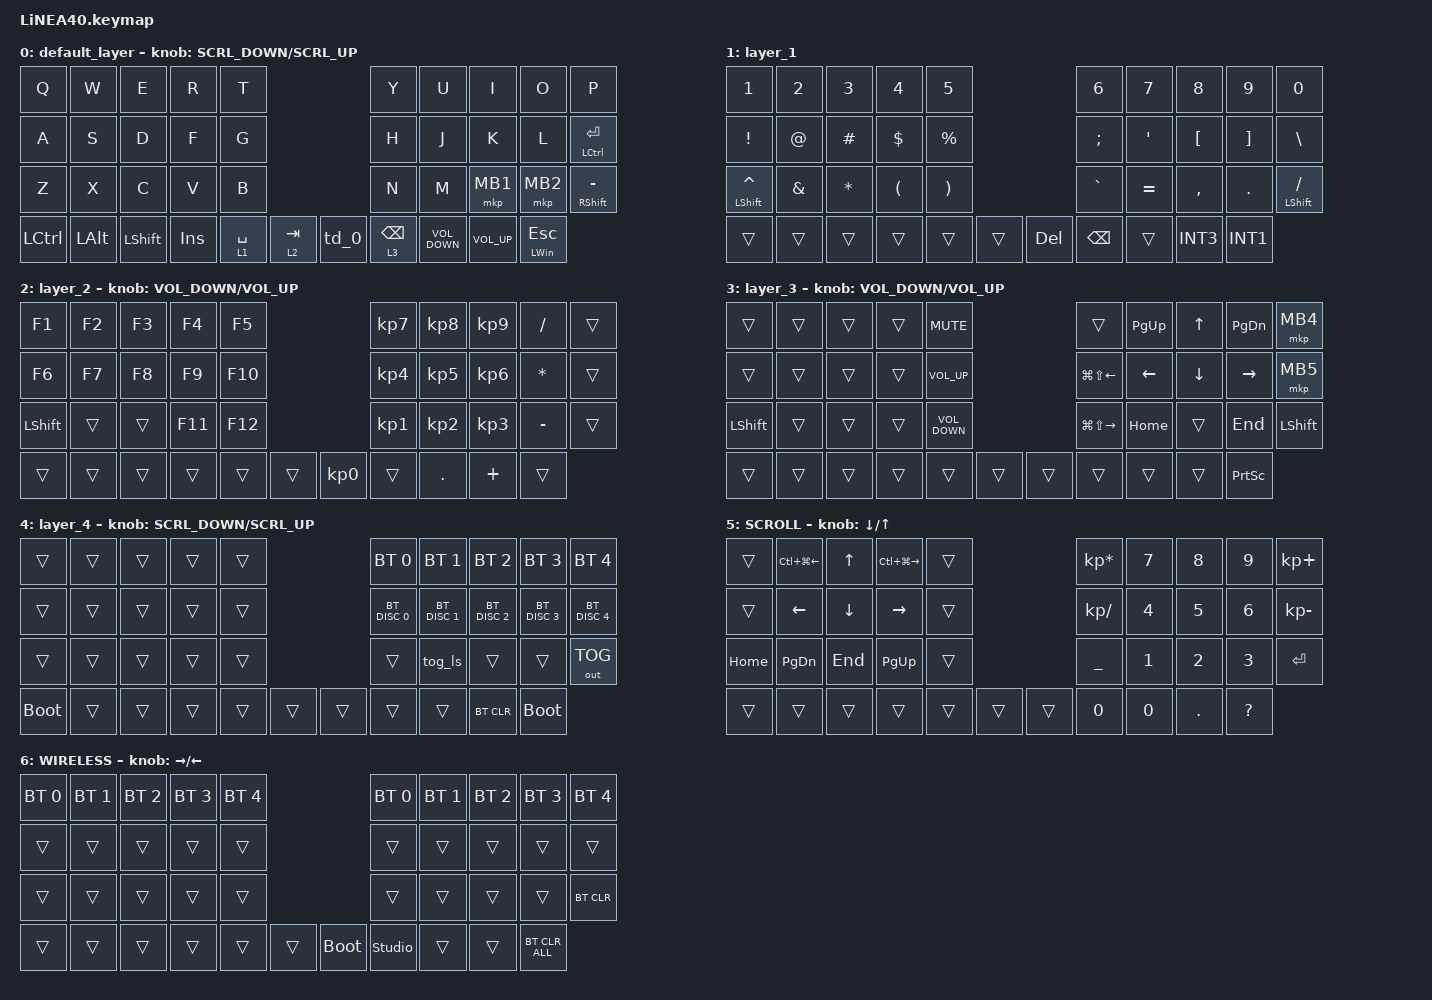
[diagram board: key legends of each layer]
#define ZMK_POINTING_DEFAULT_SCRL_VAL 150

#include <dt-bindings/zmk/input_transform.h>
#include <input/processors.dtsi>
#include <zephyr/dt-bindings/input/input-event-codes.h>
#include <layout_shift_kp_override.dtsi>
#include <behaviors.dtsi>
#include <dt-bindings/zmk/bt.h>
#include <dt-bindings/zmk/keys.h>
#include <dt-bindings/zmk/outputs.h>
#include <dt-bindings/zmk/pointing.h>

// &kp EQUAL      通常は = を出力するが、JISレイアウトでは _ (JISレイアウトでの = に対応)を出力する
// &tog_ls        レイアウトシフトのオン/オフを切り替え
// &tog_ls_on     レイアウトシフトをオンにする
// &tog_ls_off    レイアウトシフトをオフにする

#define MOUSE 1
#define MARK 2
#define CURSOR 3
#define FUNCTION 4
#define SCROLL 5
#define WIRELESS 6

//mouse cursol

&mmv {
    delay-ms = <20>;
    trigger-period-ms = <5>;
    time-to-max-speed-ms = <100>;
    acceleration-exponent = <2>;
};

//mouse scroll

&msc {
    delay-ms = <3>;
    trigger-period-ms = <3>;
    time-to-max-speed-ms = <100>;
    acceleration-exponent = <0>;
};

/ {
    input_processors {
        zip_wheel_scaler: zip_wheel_scaler {
            compatible = "zmk,input-processor-scaler";
            #input-processor-cells = <2>;
            type = <INPUT_EV_REL>;
            codes = <INPUT_REL_WHEEL>;
            track-remainders;
        };
    };
};

&msc_input_listener {
    speed_up {
        layers = <FUNCTION>;
        input-processors = <&zip_wheel_scaler 3 1>; //スクロールを3倍速にする
    };
};

&trackball_listener {
    scroller {
        layers = <SCROLL>;
        input-processors =
            <&zip_xy_transform INPUT_TRANSFORM_Y_INVERT>,
            //スクロール方向を逆転,,,,,,,,
            <&zip_xy_to_scroll_mapper>;
    };
};

/ {
    combos {
        compatible = "zmk,combos";

        bt {
            bindings = <&mo 4>;
            key-positions = <34 35>;
        };

        scroll {
            bindings = <&mo 5>;
            key-positions = <27 28>;
        };

        shift {
            bindings = <&kp LEFT_SHIFT>;
            key-positions = <10 13>;
        };

        mouse {
            bindings = <&mkp MB1>;
            key-positions = <17 18>;
        };

        scroll2 {
            bindings = <&mo 5>;
            key-positions = <7 8>;
        };
    };

    behaviors {
        re_kp: sensor_rotate_kp {
            compatible = "zmk,behavior-sensor-rotate-var";
            #sensor-binding-cells = <2>;
            bindings = <&kp>, <&kp>;
        };

        mouse_scrl: mouse_wheel_scrl {
            compatible = "zmk,behavior-sensor-rotate-var";
            #sensor-binding-cells = <2>;
            bindings = <&msc>, <&msc>;

            tap-ms = <20>;
        };

        td_0: td_0 {
            compatible = "zmk,behavior-tap-dance";
            label = "TD_0";
            #binding-cells = <0>;
            bindings = <&kp LANG1>, <&kp LANG2>;
        };
    };

    keymap {
        compatible = "zmk,keymap";

        default_layer {
            bindings = <
&kp Q      &kp W         &kp E           &kp R    &kp T                            &kp Y            &kp U  &kp I              &kp O            &kp P
&kp A      &kp S         &kp D           &kp F    &kp G                            &kp H            &kp J  &kp K              &kp L            &mt LEFT_CONTROL ENTER
&kp Z      &kp X         &kp C           &kp V    &kp B                            &kp N            &kp M  &mkp MB1           &mkp MB2         &mt RIGHT_SHIFT MINUS
&kp LCTRL  &kp LEFT_ALT  &kp LEFT_SHIFT  &kp INS  &lt 1 SPACE  &lt 2 TAB    &td_0  &lt 3 BACKSPACE         &kp C_VOLUME_DOWN  &kp C_VOLUME_UP  &mt LEFT_WIN ESC
            >;

            sensor-bindings = <&mouse_scrl SCRL_DOWN SCRL_UP>;
        };

        //1

        layer_1 {
            bindings = <
&kp NUMBER_1          &kp NUMBER_2   &kp NUMBER_3  &kp NUMBER_4          &kp NUMBER_5                              &kp NUMBER_6   &kp NUMBER_7      &kp NUMBER_8      &kp NUMBER_9       &kp NUMBER_0
&kp EXCL              &kp AT         &kp HASH      &kp DOLLAR            &kp PERCENT                               &kp SEMICOLON  &kp SINGLE_QUOTE  &kp LEFT_BRACKET  &kp RIGHT_BRACKET  &kp BACKSLASH
&mt LEFT_SHIFT CARET  &kp AMPERSAND  &kp ASTERISK  &kp LEFT_PARENTHESIS  &kp RIGHT_PARENTHESIS                     &kp GRAVE      &kp EQUAL         &kp COMMA         &kp PERIOD         &mt LEFT_SHIFT SLASH
&trans                &trans         &trans        &trans                &trans                 &trans    &kp DEL  &kp BACKSPACE                    &trans            &kp INT3           &kp INT1
            >;
        };

        //2

        layer_2 {
            bindings = <
&kp F1          &kp F2  &kp F3  &kp F4   &kp F5                        &kp KP_N7  &kp KP_N8  &kp KP_N9   &kp SLASH     &trans
&kp F6          &kp F7  &kp F8  &kp F9   &kp F10                       &kp KP_N4  &kp KP_N5  &kp KP_N6   &kp ASTERISK  &trans
&kp LEFT_SHIFT  &trans  &trans  &kp F11  &kp F12                       &kp KP_N1  &kp KP_N2  &kp KP_N3   &kp MINUS     &trans
&trans          &trans  &trans  &trans   &trans   &trans    &kp KP_N0  &trans                &kp PERIOD  &kp PLUS      &trans
            >;

            sensor-bindings = <&re_kp C_VOLUME_DOWN C_VOLUME_UP>;
        };

        //3

        layer_3 {
            bindings = <
&trans          &trans  &trans  &trans  &kp C_MUTE                           &trans                   &kp PAGE_UP     &kp UP_ARROW    &kp PAGE_DOWN    &mkp MB4
&trans          &trans  &trans  &trans  &kp C_VOLUME_UP                      &kp LG(LS(LEFT_ARROW))   &kp LEFT_ARROW  &kp DOWN_ARROW  &kp RIGHT_ARROW  &mkp MB5
&kp LEFT_SHIFT  &trans  &trans  &trans  &kp C_VOLUME_DOWN                    &kp LG(LS(RIGHT_ARROW))  &kp HOME        &trans          &kp END          &kp LEFT_SHIFT
&trans          &trans  &trans  &trans  &trans             &trans    &trans  &trans                                   &trans          &trans           &kp PRINTSCREEN
            >;

            sensor-bindings = <&inc_dec_kp C_VOLUME_DOWN C_VOLUME_UP>;
        };

        //4

        layer_4 {
            bindings = <
&trans       &trans  &trans  &trans  &trans                    &bt BT_SEL 0   &bt BT_SEL 1   &bt BT_SEL 2   &bt BT_SEL 3   &bt BT_SEL 4
&trans       &trans  &trans  &trans  &trans                    &bt BT_DISC 0  &bt BT_DISC 1  &bt BT_DISC 2  &bt BT_DISC 3  &bt BT_DISC 4
&trans       &trans  &trans  &trans  &trans                    &trans         &tog_ls        &trans         &trans         &out OUT_TOG
&bootloader  &trans  &trans  &trans  &trans  &trans    &trans  &trans                        &trans         &bt BT_CLR     &bootloader
            >;

            sensor-bindings = <&mouse_scrl SCRL_DOWN SCRL_UP>;
        };

        //5

        SCROLL {
            bindings = <
&trans    &kp LC(LG(LEFT_ARROW))  &kp UP_ARROW  &kp LC(LG(RIGHT_ARROW))  &trans                    &kp KP_MULTIPLY  &kp NUMBER_7  &kp NUMBER_8  &kp NUMBER_9  &kp KP_PLUS
&trans    &kp LEFT_ARROW          &kp DOWN      &kp RIGHT_ARROW          &trans                    &kp KP_SLASH     &kp NUMBER_4  &kp NUMBER_5  &kp NUMBER_6  &kp KP_MINUS
&kp HOME  &kp PAGE_DOWN           &kp END       &kp PAGE_UP              &trans                    &kp UNDER        &kp NUMBER_1  &kp NUMBER_2  &kp NUMBER_3  &kp ENTER
&trans    &trans                  &trans        &trans                   &trans  &trans    &trans  &kp NUMBER_0                   &kp NUMBER_0  &kp DOT       &kp QUESTION
            >;

            sensor-bindings = <&inc_dec_kp DOWN_ARROW UP_ARROW>;
        };

        //6

        WIRELESS {
            bindings = <
&bt BT_SEL 0  &bt BT_SEL 1  &bt BT_SEL 2  &bt BT_SEL 3  &bt BT_SEL 4                         &bt BT_SEL 0    &bt BT_SEL 1  &bt BT_SEL 2  &bt BT_SEL 3  &bt BT_SEL 4
&trans        &trans        &trans        &trans        &trans                               &trans          &trans        &trans        &trans        &trans
&trans        &trans        &trans        &trans        &trans                               &trans          &trans        &trans        &trans        &bt BT_CLR
&trans        &trans        &trans        &trans        &trans        &trans    &bootloader  &studio_unlock                &trans        &trans        &bt BT_CLR_ALL
            >;

            sensor-bindings = <&inc_dec_kp RIGHT_ARROW LEFT_ARROW>;
        };
    };
};
